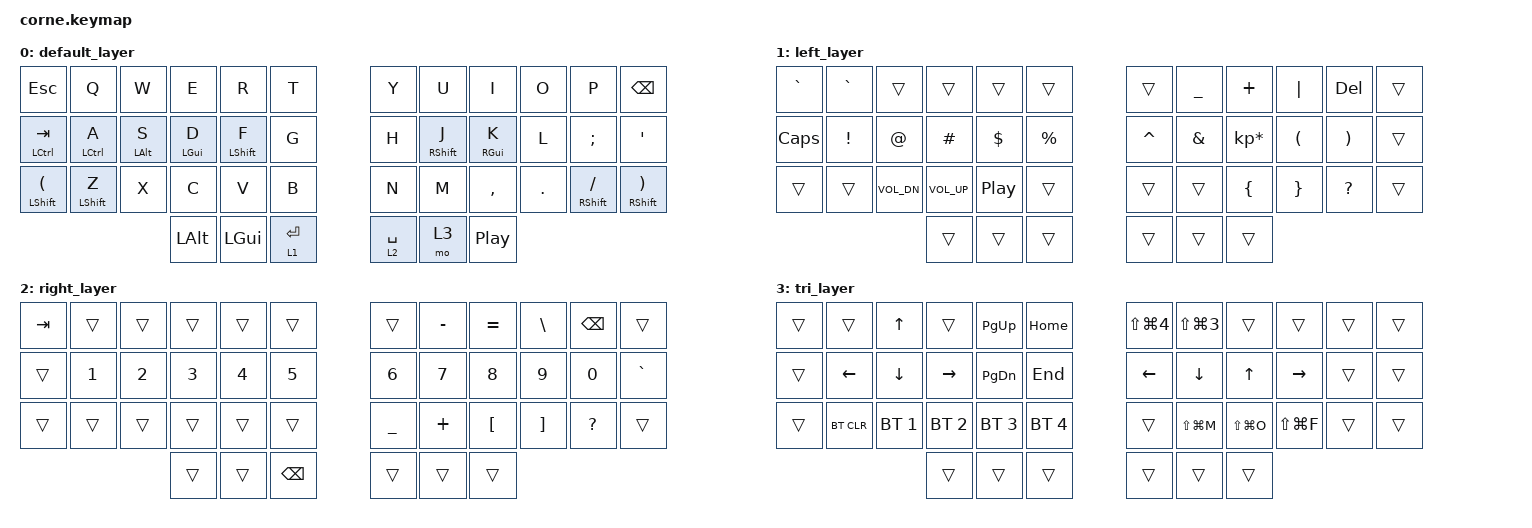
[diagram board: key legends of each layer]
/*
 * Copyright (c) 2020 The ZMK Contributors
 *
 * SPDX-License-Identifier: MIT
 */

#include <behaviors.dtsi>
#include <dt-bindings/zmk/keys.h>
#include <dt-bindings/zmk/bt.h>


&mt {
       // flavor = "tap-preferred";
       // tapping_term_ms = <200>;
};

/ {
        behaviors {        
                ht: hold_tap {
                        compatible = "zmk,behavior-hold-tap";
                        label = "HOLD_TAP";
                        #binding-cells = <2>;
                        tapping-term-ms = <200>;
                        quick-tap-ms = <0>;
                        flavor = "tap-preferred";
                        bindings = <&kp>, <&kp>;
                };   
        };

        // conditional_layers {
        //         compatible = "zmk,conditional-layers";
        //         tri_layer {
        //                 if-layers = <1 2>;
        //                 then-layer = <3>;
        //         };
        // };

        combos {
                compatible = "zmk,combos";
                combo_esc {
                        timeout-ms = <50>;
                        key-positions = <1 2>;
                        bindings = <&gresc>;
                };
                combo_bspc {
                        timeout-ms = <50>;
                        key-positions = <9 10>;
                        bindings = <&kp BSPC>;
                };
                combo_tab {
                        timeout-ms = <50>;
                        key-positions = <13 14>;
                        bindings = <&kp TAB>;
                };
                combo_sqt {
                        timeout-ms = <50>;
                        key-positions = <21 22>;
                        bindings = <&kp SQT>;
                };
                combo_qmark {
                        timeout-ms = <50>;
                        key-positions = <33 34>;
                        bindings = <&kp QMARK>;
                }; 
               combo_trilayer {
                        timeout-ms = <50>;
                        key-positions = <38 39>;
                        bindings = <&mo 3>;
                }; 
  
        };

        keymap {
                compatible = "zmk,keymap";

                default_layer {
// -----------------------------------------------------------------------------------------
// |  ESC |  Q  |  W  |  E  |  R  |  T  |   |  Y  |  U   |  I  |  O  |  P  | BKSP|
// |  TAB |  A  |  S  |  D  |  F  |  G  |   |  H  |  J   |  K  |  L  |  ;  |  '  |
// | SHFT |  Z  |  X  |  C  |  V  |  B  |   |  N  |  M   |  ,  |  .  |  /  | ESC |
//                    | GUI | CMD | ENT |   | SPC | TRI  |  PP |
                        bindings = <
   &kp ESC         &kp Q        &kp W      &kp E      &kp R        &kp T       &kp Y       &kp U        &kp I      &kp O   &kp P           &kp BSPC
   &ht LCTRL TAB   &ht LCTRL A  &ht LALT S &ht LGUI D &ht LSHIFT F &kp G       &kp H       &ht RSHIFT J &ht RGUI K &kp L   &kp SEMI        &kp SQT
   &mt LSHIFT LPAR &mt LSHIFT Z &kp X      &kp C      &kp V        &kp B       &kp N       &kp M        &kp COMMA  &kp DOT &mt RSHIFT FSLH &mt RSHIFT RPAR
                                           &kp LALT   &kp LGUI     &lt 1 RET   &lt 2 SPACE &mo 3        &kp C_PP
                        >;
                };
                left_layer {
// -----------------------------------------------------------------------------------------
// |GRAVE|GRAVE|     |     |     |     |   |     |     |     |     | DEL |     |
// | CAPS|  !  |  @  |  #  |  $  |  %  |   |  ^  |  &  |  *  |  (  |  )  |     |
// |     |     |Vol -|Vol +| PLAY|     |   |     |     |  {  |  }  |  ?  |     |
//                   |     |     |     |   |     |     |     |
                        bindings = <
   &kp GRAVE &kp GRAVE   &trans    &trans       &trans   &trans      &trans    &kp UNDER &kp PLUS        &kp PIPE &kp DEL   &trans
   &kp CAPS  &kp EXCL &kp AT       &kp HASH     &kp DLLR &kp PRCNT   &kp CARET &kp AMPS  &kp KP_MULTIPLY &kp LPAR &kp RPAR  &trans
   &trans    &trans   &kp C_VOL_DN &kp C_VOL_UP &kp C_PP &trans      &trans    &trans    &kp LBRC        &kp RBRC &kp QMARK &trans
                                   &trans       &trans   &trans      &trans    &trans    &trans
                        >;
                };

                right_layer {
// -----------------------------------------------------------------------------------------
// |  TAB |     |     |     |     |     |   |     |  -  |  =  |  \  | BKSP|     |
// |      |  1  |  2  |  3  |  4  |  5  |   |  6  |  7  |  8  |  9  |  0  |  `  |
// |      |     |     |     |     |     |   |  _  |     |  [  |  ]  |  ?  |     |
//                    |     |     |     |   |     |     |     |
                        bindings = <
   &kp TAB &trans &trans &trans &trans &trans     &trans    &kp MINUS &kp EQUAL &kp BSLH &kp BSPC  &trans
   &trans  &kp N1 &kp N2 &kp N3 &kp N4 &kp N5     &kp N6    &kp N7    &kp N8    &kp N9   &kp N0    &kp GRAVE
   &trans  &trans &trans &trans &trans &trans     &kp UNDER &kp PLUS  &kp LBKT  &kp RBKT &kp QMARK &trans
                         &trans &trans &kp BSPC   &trans    &trans    &trans
                        >;
                };

                tri_layer {
// -----------------------------------------------------------------------------------------
// |     |     |  UP |     |PG UP| HOME|   |SCRS4|SCRS3|     |     | DEL |     |
// |     | LEFT| DOWN|RIGHT|PG DN| END |   | LEFT| DOWN|  UP |RIGHT|     |     |
// |     |BTCLR| BT1 | BT2 | BT3 | BT4 |   |     |TMSMA|TMSMV|TMSFS|     |     | 
//                   |     |     |     |   |     |     |     |
                        bindings = <
   &trans &trans     &kp UP       &trans       &kp PG_UP &kp HOME          &kp LS(LG(N4)) &kp LS(LG(N3)) &trans        &trans        &trans &trans
   &trans &kp LEFT   &kp DOWN     &kp RIGHT    &kp PG_DN &kp END           &kp LEFT       &kp DOWN       &kp UP        &kp RIGHT     &trans &trans
   &trans &bt BT_CLR &bt BT_SEL 1 &bt BT_SEL 2 &bt BT_SEL 3 &bt BT_SEL 4   &trans         &kp LS(LG(M))  &kp LS(LG(O)) &kp LS(LG(F)) &trans &trans
                                  &trans       &trans       &trans         &trans         &trans         &trans
                        >;
                };
        };
};
